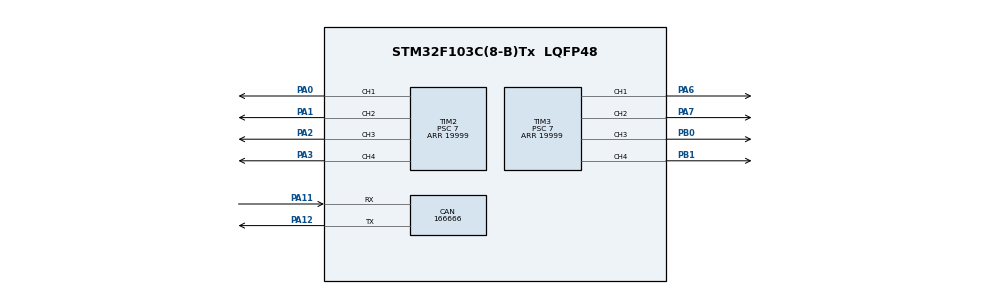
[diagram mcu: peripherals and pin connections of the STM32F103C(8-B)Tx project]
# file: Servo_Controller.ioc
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CAN.CalculateBaudRate=166666
CAN.CalculateTimeBit=6000
CAN.CalculateTimeQuantum=2000.0
Mcu.Family=STM32F1
Mcu.Name=STM32F103C(8-B)Tx
Mcu.Package=LQFP48
NVIC.PriorityGroup=NVIC_PRIORITYGROUP_4
PA0-WKUP.Signal=S_TIM2_CH1_ETR
PA1.Signal=S_TIM2_CH2
PA11.Mode=CAN_Activate
PA11.Signal=CAN_RX
PA12.Mode=CAN_Activate
PA12.Signal=CAN_TX
PA13.Mode=Serial_Wire
PA13.Signal=SYS_JTMS-SWDIO
PA14.Mode=Serial_Wire
PA14.Signal=SYS_JTCK-SWCLK
PA2.Signal=S_TIM2_CH3
PA3.Signal=S_TIM2_CH4
PA6.Signal=S_TIM3_CH1
PA7.Signal=S_TIM3_CH2
PB0.Signal=S_TIM3_CH3
PB1.Signal=S_TIM3_CH4
ProjectManager.HeapSize=0x200
ProjectManager.StackSize=0x400
ProjectManager.TargetToolchain=CMake
RCC.APB1Freq_Value=8000000
RCC.APB2Freq_Value=8000000
SH.S_TIM2_CH1_ETR.0=TIM2_CH1,PWM Generation1 CH1
SH.S_TIM2_CH2.0=TIM2_CH2,PWM Generation2 CH2
SH.S_TIM2_CH3.0=TIM2_CH3,PWM Generation3 CH3
SH.S_TIM2_CH4.0=TIM2_CH4,PWM Generation4 CH4
SH.S_TIM3_CH1.0=TIM3_CH1,PWM Generation1 CH1
SH.S_TIM3_CH2.0=TIM3_CH2,PWM Generation2 CH2
SH.S_TIM3_CH3.0=TIM3_CH3,PWM Generation3 CH3
SH.S_TIM3_CH4.0=TIM3_CH4,PWM Generation4 CH4
TIM2.Channel-PWM\ Generation1\ CH1=TIM_CHANNEL_1
TIM2.Channel-PWM\ Generation2\ CH2=TIM_CHANNEL_2
TIM2.Channel-PWM\ Generation3\ CH3=TIM_CHANNEL_3
TIM2.Channel-PWM\ Generation4\ CH4=TIM_CHANNEL_4
TIM2.Period=19999
TIM2.Prescaler=7
TIM3.Channel-PWM\ Generation1\ CH1=TIM_CHANNEL_1
TIM3.Channel-PWM\ Generation2\ CH2=TIM_CHANNEL_2
TIM3.Channel-PWM\ Generation3\ CH3=TIM_CHANNEL_3
TIM3.Channel-PWM\ Generation4\ CH4=TIM_CHANNEL_4
TIM3.Period=19999
TIM3.Prescaler=7
VP_TIM2_VS_ClockSourceINT.Mode=Internal
VP_TIM3_VS_ClockSourceINT.Mode=Internal
board=custom

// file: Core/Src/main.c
/* USER CODE BEGIN Header */
/**
  ******************************************************************************
  * @file           : main.c
  * @brief          : Main program body
  ******************************************************************************
  * @attention
  *
  * Copyright (c) 2026 STMicroelectronics.
  * All rights reserved.
  *
  * This software is licensed under terms that can be found in the LICENSE file
  * in the root directory of this software component.
  * If no LICENSE file comes with this software, it is provided AS-IS.
  *
  ******************************************************************************
  */
/* USER CODE END Header */
#include "main.h"

CAN_HandleTypeDef hcan;

TIM_HandleTypeDef htim2;
TIM_HandleTypeDef htim3;

void SystemClock_Config(void);
static void MX_GPIO_Init(void);
static void MX_CAN_Init(void);
static void MX_TIM2_Init(void);
static void MX_TIM3_Init(void);

int main(void)
{

  /* MCU Configuration--------------------------------------------------------*/

  /* Reset of all peripherals, Initializes the Flash interface and the Systick. */
  HAL_Init();

  /* Configure the system clock */
  SystemClock_Config();

  /* Initialize all configured peripherals */
  MX_GPIO_Init();
  MX_CAN_Init();
  MX_TIM2_Init();
  MX_TIM3_Init();
  /* USER CODE BEGIN 2 */
  /* Start PWM outputs on TIM2 */
  HAL_TIM_PWM_Start(&htim2, TIM_CHANNEL_1);
  HAL_TIM_PWM_Start(&htim2, TIM_CHANNEL_2);
  HAL_TIM_PWM_Start(&htim2, TIM_CHANNEL_3);
  HAL_TIM_PWM_Start(&htim2, TIM_CHANNEL_4);

  /* Start PWM outputs on TIM3 */
  HAL_TIM_PWM_Start(&htim3, TIM_CHANNEL_1);
  HAL_TIM_PWM_Start(&htim3, TIM_CHANNEL_2);
  HAL_TIM_PWM_Start(&htim3, TIM_CHANNEL_3);
  HAL_TIM_PWM_Start(&htim3, TIM_CHANNEL_4);

  /* Initialize all PWM duty cycles to zero */
  __HAL_TIM_SET_COMPARE(&htim2, TIM_CHANNEL_1, 0);
  __HAL_TIM_SET_COMPARE(&htim2, TIM_CHANNEL_2, 0);
  __HAL_TIM_SET_COMPARE(&htim2, TIM_CHANNEL_3, 0);
  __HAL_TIM_SET_COMPARE(&htim2, TIM_CHANNEL_4, 0);

  __HAL_TIM_SET_COMPARE(&htim3, TIM_CHANNEL_1, 0);
  __HAL_TIM_SET_COMPARE(&htim3, TIM_CHANNEL_2, 0);
  __HAL_TIM_SET_COMPARE(&htim3, TIM_CHANNEL_3, 0);
  __HAL_TIM_SET_COMPARE(&htim3, TIM_CHANNEL_4, 0);

  /* USER CODE END 2 */

  /* Infinite loop */
  while (1)
  {

  }
}

void SystemClock_Config(void)
{
  RCC_OscInitTypeDef RCC_OscInitStruct = {0};
  RCC_ClkInitTypeDef RCC_ClkInitStruct = {0};

  /** Initializes the RCC Oscillators according to the specified parameters
  * in the RCC_OscInitTypeDef structure.
  */
  RCC_OscInitStruct.OscillatorType = RCC_OSCILLATORTYPE_HSI;
  RCC_OscInitStruct.HSIState = RCC_HSI_ON;
  RCC_OscInitStruct.HSICalibrationValue = RCC_HSICALIBRATION_DEFAULT;
  RCC_OscInitStruct.PLL.PLLState = RCC_PLL_NONE;
  if (HAL_RCC_OscConfig(&RCC_OscInitStruct) != HAL_OK)
  {
    Error_Handler();
  }

  /** Initializes the CPU, AHB and APB buses clocks
  */
  RCC_ClkInitStruct.ClockType = RCC_CLOCKTYPE_HCLK|RCC_CLOCKTYPE_SYSCLK
                              |RCC_CLOCKTYPE_PCLK1|RCC_CLOCKTYPE_PCLK2;
  RCC_ClkInitStruct.SYSCLKSource = RCC_SYSCLKSOURCE_HSI;
  RCC_ClkInitStruct.AHBCLKDivider = RCC_SYSCLK_DIV1;
  RCC_ClkInitStruct.APB1CLKDivider = RCC_HCLK_DIV1;
  RCC_ClkInitStruct.APB2CLKDivider = RCC_HCLK_DIV1;

  if (HAL_RCC_ClockConfig(&RCC_ClkInitStruct, FLASH_LATENCY_0) != HAL_OK)
  {
    Error_Handler();
  }
}

static void MX_CAN_Init(void)
{

  hcan.Instance = CAN1;
  hcan.Init.Prescaler = 16;
  hcan.Init.Mode = CAN_MODE_NORMAL;
  hcan.Init.SyncJumpWidth = CAN_SJW_1TQ;
  hcan.Init.TimeSeg1 = CAN_BS1_1TQ;
  hcan.Init.TimeSeg2 = CAN_BS2_1TQ;
  hcan.Init.TimeTriggeredMode = DISABLE;
  hcan.Init.AutoBusOff = DISABLE;
  hcan.Init.AutoWakeUp = DISABLE;
  hcan.Init.AutoRetransmission = DISABLE;
  hcan.Init.ReceiveFifoLocked = DISABLE;
  hcan.Init.TransmitFifoPriority = DISABLE;
  if (HAL_CAN_Init(&hcan) != HAL_OK)
  {
    Error_Handler();
  }

}

static void MX_TIM2_Init(void)
{

  TIM_ClockConfigTypeDef sClockSourceConfig = {0};
  TIM_MasterConfigTypeDef sMasterConfig = {0};
  TIM_OC_InitTypeDef sConfigOC = {0};

  htim2.Instance = TIM2;
  htim2.Init.Prescaler = 7;
  htim2.Init.CounterMode = TIM_COUNTERMODE_UP;
  htim2.Init.Period = 19999;
  htim2.Init.ClockDivision = TIM_CLOCKDIVISION_DIV1;
  htim2.Init.AutoReloadPreload = TIM_AUTORELOAD_PRELOAD_DISABLE;
  if (HAL_TIM_Base_Init(&htim2) != HAL_OK)
  {
    Error_Handler();
  }
  sClockSourceConfig.ClockSource = TIM_CLOCKSOURCE_INTERNAL;
  if (HAL_TIM_ConfigClockSource(&htim2, &sClockSourceConfig) != HAL_OK)
  {
    Error_Handler();
  }
  if (HAL_TIM_PWM_Init(&htim2) != HAL_OK)
  {
    Error_Handler();
  }
  sMasterConfig.MasterOutputTrigger = TIM_TRGO_RESET;
  sMasterConfig.MasterSlaveMode = TIM_MASTERSLAVEMODE_DISABLE;
  if (HAL_TIMEx_MasterConfigSynchronization(&htim2, &sMasterConfig) != HAL_OK)
  {
    Error_Handler();
  }
  sConfigOC.OCMode = TIM_OCMODE_PWM1;
  sConfigOC.Pulse = 0;
  sConfigOC.OCPolarity = TIM_OCPOLARITY_HIGH;
  sConfigOC.OCFastMode = TIM_OCFAST_DISABLE;
  if (HAL_TIM_PWM_ConfigChannel(&htim2, &sConfigOC, TIM_CHANNEL_1) != HAL_OK)
  {
    Error_Handler();
  }
  if (HAL_TIM_PWM_ConfigChannel(&htim2, &sConfigOC, TIM_CHANNEL_2) != HAL_OK)
  {
    Error_Handler();
  }
  if (HAL_TIM_PWM_ConfigChannel(&htim2, &sConfigOC, TIM_CHANNEL_3) != HAL_OK)
  {
    Error_Handler();
  }
  if (HAL_TIM_PWM_ConfigChannel(&htim2, &sConfigOC, TIM_CHANNEL_4) != HAL_OK)
  {
    Error_Handler();
  }
  HAL_TIM_MspPostInit(&htim2);

}

static void MX_TIM3_Init(void)
{

  TIM_ClockConfigTypeDef sClockSourceConfig = {0};
  TIM_MasterConfigTypeDef sMasterConfig = {0};
  TIM_OC_InitTypeDef sConfigOC = {0};

  htim3.Instance = TIM3;
  htim3.Init.Prescaler = 7;
  htim3.Init.CounterMode = TIM_COUNTERMODE_UP;
  htim3.Init.Period = 19999;
  htim3.Init.ClockDivision = TIM_CLOCKDIVISION_DIV1;
  htim3.Init.AutoReloadPreload = TIM_AUTORELOAD_PRELOAD_DISABLE;
  if (HAL_TIM_Base_Init(&htim3) != HAL_OK)
  {
    Error_Handler();
  }
  sClockSourceConfig.ClockSource = TIM_CLOCKSOURCE_INTERNAL;
  if (HAL_TIM_ConfigClockSource(&htim3, &sClockSourceConfig) != HAL_OK)
  {
    Error_Handler();
  }
  if (HAL_TIM_PWM_Init(&htim3) != HAL_OK)
  {
    Error_Handler();
  }
  sMasterConfig.MasterOutputTrigger = TIM_TRGO_RESET;
  sMasterConfig.MasterSlaveMode = TIM_MASTERSLAVEMODE_DISABLE;
  if (HAL_TIMEx_MasterConfigSynchronization(&htim3, &sMasterConfig) != HAL_OK)
  {
    Error_Handler();
  }
  sConfigOC.OCMode = TIM_OCMODE_PWM1;
  sConfigOC.Pulse = 0;
  sConfigOC.OCPolarity = TIM_OCPOLARITY_HIGH;
  sConfigOC.OCFastMode = TIM_OCFAST_DISABLE;
  if (HAL_TIM_PWM_ConfigChannel(&htim3, &sConfigOC, TIM_CHANNEL_1) != HAL_OK)
  {
    Error_Handler();
  }
  if (HAL_TIM_PWM_ConfigChannel(&htim3, &sConfigOC, TIM_CHANNEL_2) != HAL_OK)
  {
    Error_Handler();
  }
  if (HAL_TIM_PWM_ConfigChannel(&htim3, &sConfigOC, TIM_CHANNEL_3) != HAL_OK)
  {
    Error_Handler();
  }
  if (HAL_TIM_PWM_ConfigChannel(&htim3, &sConfigOC, TIM_CHANNEL_4) != HAL_OK)
  {
    Error_Handler();
  }
  HAL_TIM_MspPostInit(&htim3);

}

static void MX_GPIO_Init(void)
{

  /* GPIO Ports Clock Enable */
  __HAL_RCC_GPIOA_CLK_ENABLE();
  __HAL_RCC_GPIOB_CLK_ENABLE();

}

/* USER CODE BEGIN 4 */
void CHANGE_PWM_DUTY_CYCLE(uint8_t servo, uint16_t pulse_width) {
  uint32_t channel;
  const uint32_t CHANNELS[4] = {TIM_CHANNEL_1, TIM_CHANNEL_2, TIM_CHANNEL_3, TIM_CHANNEL_4};
  if (servo > 7){ /*invalid servo number*/
    return;
  }
  else if (pulse_width > 19999){ /*Invalid pulse width | possibly change to 2000 depending on servo planned to use*/
    return;
  }
  else if (servo <=3){
    channel = CHANNELS[servo];
    __HAL_TIM_SET_COMPARE(&htim2, channel, pulse_width);
  }
  else if (servo <=7){
    channel = CHANNELS[servo-4];
    __HAL_TIM_SET_COMPARE(&htim3, channel, pulse_width);
  }

}
/* USER CODE END 4 */

void Error_Handler(void)
{
  __disable_irq();
  while (1)
  {
  }
}
